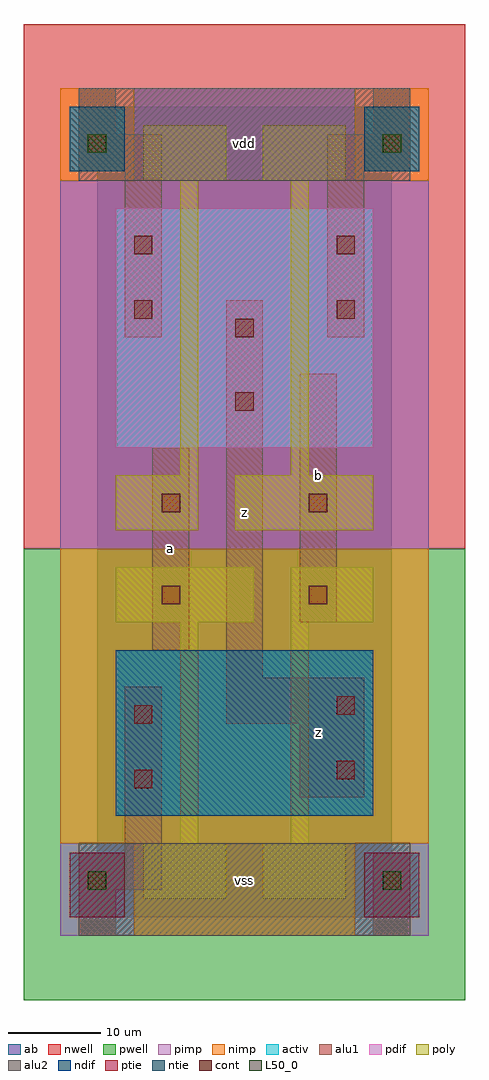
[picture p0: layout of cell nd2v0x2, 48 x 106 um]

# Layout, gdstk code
import gdstk
lib = gdstk.Library(unit=1e-6, precision=1e-09)
def R(c, l, rs):  # rectangles x0, y0, x1, y1
    for r in rs: c.add(gdstk.rectangle(r[:2], r[2:], *l))
ndif = (3, 0)
pdif = (4, 0)
ntie = (5, 0)
ptie = (6, 0)
cont = (25, 0)
pwell = (41, 0)
nwell = (42, 0)
activ = (43, 0)
pimp = (44, 0)
nimp = (45, 0)
poly = (46, 0)
alu1 = (49, 0)
L50_0 = (50, 0)
alu2 = (51, 0)
ab = (63, 0)

nd2v0x2 = lib.new_cell('nd2v0x2')
R(nd2v0x2, ndif, [(2,11,30,29)])
R(nd2v0x2, pdif, [(2,51,30,77)])
R(nd2v0x2, ntie, [(-3,81,3,88), (29,81,35,88)])
R(nd2v0x2, ptie, [(-3,0,3,7), (29,0,35,7)])
R(nd2v0x2, cont, [(-1,3,1,5), (31,3,33,5), (4,14,6,16), (26,15,28,17), (4,21,6,23), (26,22,28,24), (7,34,9,36), (23,34,25,36), (7,44,9,46), (23,44,25,46), (15,55,17,57), (15,63,17,65), (4,65,6,67), (26,65,28,67), (4,72,6,74), (26,72,28,74), (-1,83,1,85), (31,83,33,85)])
R(nd2v0x2, pwell, [(-8,-9,40,40)])
R(nd2v0x2, nwell, [(-8,40,40,97)])
R(nd2v0x2, activ, [(-3,0,3,7), (29,0,35,7), (2,11,30,29), (2,51,30,77), (-3,81,3,88), (29,81,35,88)])
R(nd2v0x2, pimp, [(-4,-2,4,8), (28,-2,36,8), (-4,40,36,80), (4,80,28,90)])
R(nd2v0x2, nimp, [(4,-2,28,8), (-4,8,36,40), (-4,80,4,90), (28,80,36,90)])
R(nd2v0x2, poly, [(5,2,14,8), (18,2,27,8), (9,8,11,32), (21,8,23,32), (2,32,17,38), (21,32,30,38), (2,42,11,48), (15,42,30,48), (9,48,11,80), (21,48,23,80), (5,80,14,86), (18,80,27,86)])
R(nd2v0x2, alu1, [(-2,-2,2,3), (30,-2,34,7), (-2,3,7,7), (3,7,7,25), (22,13,29,21), (14,21,29,26), (14,26,18,67), (6,29,10,51), (22,32,26,59), (3,63,7,81), (25,63,29,81), (-2,81,7,85), (25,81,34,85), (-2,85,2,90), (30,85,34,90)])
R(nd2v0x2, L50_0, [(-1,3,1,5), (31,3,33,5), (-1,83,1,85), (31,83,33,85)])
R(nd2v0x2, alu2, [(-2,-2,34,8), (-2,80,34,90)])
R(nd2v0x2, ab, [(0,0,32,88)])
nd2v0x2.add(gdstk.Label('a', (8,40), layer=49, texttype=0))
nd2v0x2.add(gdstk.Label('z', (16,44), layer=49, texttype=0))
nd2v0x2.add(gdstk.Label('z', (24,20), layer=49, texttype=0))
nd2v0x2.add(gdstk.Label('b', (24,48), layer=49, texttype=0))
nd2v0x2.add(gdstk.Label('vss', (16,4), layer=51, texttype=0))
nd2v0x2.add(gdstk.Label('vdd', (16,84), layer=51, texttype=0))

lib.write_gds('nd2v0x2.gds')
